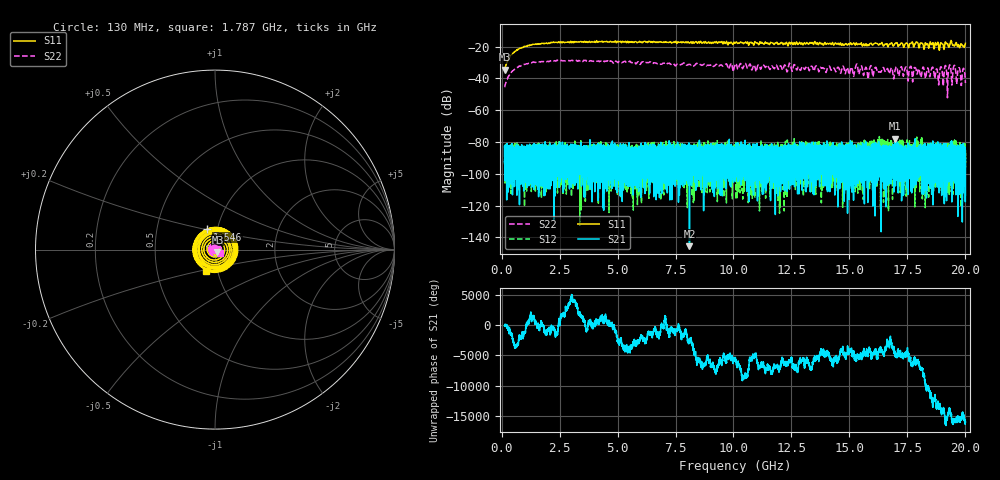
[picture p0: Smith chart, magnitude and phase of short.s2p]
!Created with skrf (http://scikit-rf.org).
# GHz S RI R 50.0
!freq ReS11 ImS11 ReS21 ImS21 ReS12 ImS12 ReS22 ImS22
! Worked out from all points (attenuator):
!   20013 points, 130 MHz to 20 GHz, reference 50 ohm
!   highest |S21| = -77.81 dB at 16.97 GHz (marker M1); lowest = -145.5 dB at 8.101 GHz (marker M2)
!   lowest |S11| = -34.5 dB at 130 MHz (marker M3), VSWR 1.04, Z = 51.4 - j1.32 ohm
!   |S11| at or under -10 dB: start of sweep to end of sweep
!   |S22| runs from -52.2 to -28.4 dB; largest |S21 - S12| = 0.00019
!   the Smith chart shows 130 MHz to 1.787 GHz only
!   S11 on the Smith chart (normalised r, x): 130 MHz: 1.03, -0.03; 1.546 GHz: 0.90, +0.20; 1.787 GHz: 0.88, -0.21
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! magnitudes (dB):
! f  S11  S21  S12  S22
! 130 MHz  -34.5  -92.3  -94.2  -45.5
! 357 MHz  -26.4  -96.3  -83.0  -37.2
! 623 MHz  -22.7  -85.5  -85.6  -33.7
! 1.546 GHz  -18.4  -91.8  -92.6  -29.5
! 1.787 GHz  -17.9  -90.1  -91.3  -29.3
! 3.442 GHz  -17.0  -94.8  -90.2  -28.9
! 6.754 GHz  -17.3  -85.2  -89.5  -30.7
! 8.101 GHz  -17.8  -145.5  -87.0  -31.1
! 10.06 GHz  -17.9  -96.3  -89.2  -31.4
! 13.38 GHz  -17.4  -90.0  -88.4  -32.2
! 16.69 GHz  -19.1  -91.8  -87.1  -36.0
! 16.97 GHz  -18.0  -77.8  -93.5  -34.8
! 17.89 GHz  -17.0  -88.3  -82.5  -35.3
! 18.01 GHz  -20.7  -95.8  -88.8  -34.4
! 18.56 GHz  -18.5  -93.1  -93.4  -33.3
! 18.77 GHz  -18.8  -96.6  -84.0  -34.1
! 19.14 GHz  -17.1  -93.3  -86.1  -31.9
! 19.45 GHz  -19.1  -87.8  -81.8  -38.3
! 19.52 GHz  -19.6  -97.3  -84.1  -31.7
! 19.63 GHz  -18.7  -90.7  -94.1  -41.8
! 19.93 GHz  -19.8  -92.5  -91.4  -33.6
! 20 GHz  -17.9  -90.5  -96.1  -42.9
